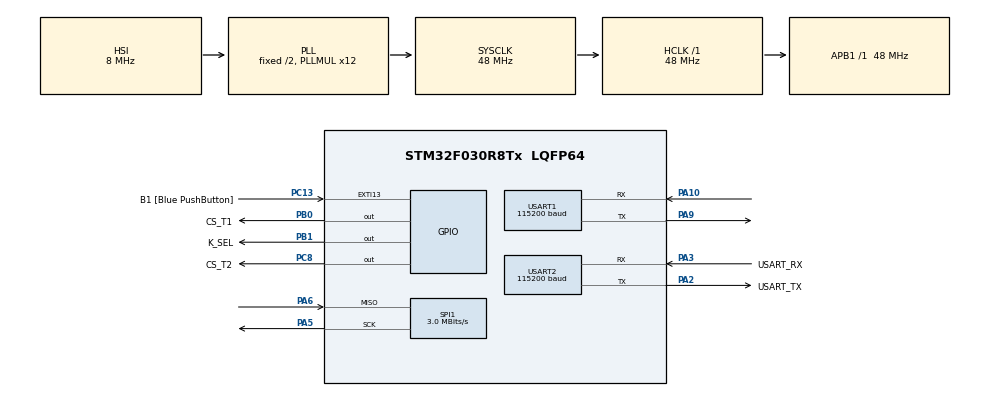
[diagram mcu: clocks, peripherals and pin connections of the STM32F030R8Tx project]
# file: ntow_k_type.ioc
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Mcu.Family=STM32F0
Mcu.Name=STM32F030R8Tx
Mcu.Package=LQFP64
PA10.Mode=Asynchronous
PA10.Signal=USART1_RX
PA13.GPIO_Label=TMS
PA13.Mode=Serial_Wire
PA13.Signal=SYS_SWDIO
PA14.GPIO_Label=TCK
PA14.Mode=Serial_Wire
PA14.Signal=SYS_SWCLK
PA2.GPIO_Label=USART_TX
PA2.GPIO_Mode=GPIO_MODE_AF_PP
PA2.GPIO_PuPd=GPIO_NOPULL
PA2.GPIO_Speed=GPIO_SPEED_FREQ_LOW
PA2.Mode=Asynchronous
PA2.Signal=USART2_TX
PA3.GPIO_Label=USART_RX
PA3.GPIO_Mode=GPIO_MODE_AF_PP
PA3.GPIO_PuPd=GPIO_NOPULL
PA3.GPIO_Speed=GPIO_SPEED_FREQ_LOW
PA3.Mode=Asynchronous
PA3.Signal=USART2_RX
PA5.Mode=RX_Only_Simplex_Unidirect_Master
PA5.Signal=SPI1_SCK
PA6.Mode=RX_Only_Simplex_Unidirect_Master
PA6.Signal=SPI1_MISO
PA9.Mode=Asynchronous
PA9.Signal=USART1_TX
PB0.GPIO_Label=CS_T1
PB0.Signal=GPIO_Output
PB1.GPIO_Label=K_SEL
PB1.Signal=GPIO_Output
PC13.GPIO_Label=B1 [Blue PushButton]
PC13.GPIO_ModeDefaultEXTI=GPIO_MODE_IT_FALLING
PC13.Signal=GPXTI13
PC14-OSC32_IN.Mode=LSE-External-Oscillator
PC14-OSC32_IN.Signal=RCC_OSC32_IN
PC15-OSC32_OUT.Mode=LSE-External-Oscillator
PC15-OSC32_OUT.Signal=RCC_OSC32_OUT
PC8.GPIO_Label=CS_T2
PC8.Signal=GPIO_Output
PF0-OSC_IN.Mode=HSE-External-Clock-Source
PF0-OSC_IN.Signal=RCC_OSC_IN
PF1-OSC_OUT.Signal=RCC_OSC_OUT
ProjectManager.HeapSize=0x200
ProjectManager.StackSize=0x400
ProjectManager.TargetToolchain=STM32CubeIDE
RCC.AHBFreq_Value=48000000
RCC.APB1Freq_Value=48000000
RCC.APB1TimFreq_Value=48000000
RCC.HCLKFreq_Value=48000000
RCC.PLLMUL=RCC_PLL_MUL12
RCC.SYSCLKFreq_VALUE=48000000
RCC.SYSCLKSource=RCC_SYSCLKSOURCE_PLLCLK
SPI1.BaudRatePrescaler=SPI_BAUDRATEPRESCALER_16
SPI1.CalculateBaudRate=3.0 MBits/s
SPI1.DataSize=SPI_DATASIZE_8BIT
SPI1.Direction=SPI_DIRECTION_2LINES_RXONLY
SPI1.Mode=SPI_MODE_MASTER
SPI1.VirtualType=VM_MASTER
USART1.BaudRate=115200
USART1.VirtualMode-Asynchronous=VM_ASYNC
USART2.BaudRate=115200
USART2.VirtualMode-Asynchronous=VM_ASYNC
board=NUCLEO-F030R8

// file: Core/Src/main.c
/* USER CODE BEGIN Header */
/**
  ******************************************************************************
  * @file           : main.c
  * @brief          : Main program body
  ******************************************************************************
  * @attention
  *
  * <h2><center>&copy; Copyright (c) 2020 STMicroelectronics.
  * All rights reserved.</center></h2>
  *
  * This software component is licensed by ST under BSD 3-Clause license,
  * the "License"; You may not use this file except in compliance with the
  * License. You may obtain a copy of the License at:
  *                        opensource.org/licenses/BSD-3-Clause
  *
  ******************************************************************************
  */
/* USER CODE END Header */
#include "main.h"

/* USER CODE BEGIN Includes */
#include "MAX31855.h"
#include<stdio.h>
/* USER CODE END Includes */

SPI_HandleTypeDef hspi1;

UART_HandleTypeDef huart1;
UART_HandleTypeDef huart2;

/* USER CODE BEGIN PV */
char temp_buff[200];
char printBuff[200]={};
char temp_buff_1[200];
uint16_t Temperature_value;
uint16_t temp_val, temp_val1;
uint16_t temp_k1;
uint8_t k2_flag=0,k1_flag=0;
char pData[10]={"rathan"};
unsigned char data[5]={'#',0,'$',0,'@'};
char data_2[2]={"$"};
char data_3[2]={"@"};
volatile uint16_t Temperature1, Temperature2;
/* USER CODE END PV */

void SystemClock_Config(void);
static void MX_GPIO_Init(void);
static void MX_USART2_UART_Init(void);
static void MX_SPI1_Init(void);
static void MX_USART1_UART_Init(void);

/* USER CODE BEGIN 0 */
void read_k1()
{
//	HAL_GPIO_WritePin(CS_pin_GPIO_Port, CS_pin_Pin, SET);
//	HAL_GPIO_WritePin(K_SEL_GPIO_Port, K_SEL_Pin, RESET);
	k1_flag=1;
	k2_flag=0;
	HAL_Delay(50);
// 	HAL_GPIO_WritePin(CS_pin_GPIO_Port, CS_pin_Pin, RESET);
//    ReadTemperature(&temp);
	//   	ReadTemperature();
	HAL_Delay(500);
}
void read_k2()
{
	 //  HAL_GPIO_WritePin(CS_pin_GPIO_Port, CS_pin_Pin, SET);
	    HAL_GPIO_WritePin(K_SEL_GPIO_Port, K_SEL_Pin, SET);
	    k2_flag=1;
	    HAL_Delay(50);
	//    HAL_GPIO_WritePin(CS_pin_GPIO_Port, CS_pin_Pin, RESET);
	    ReadTemperature(&temp_k1);
	//    ReadTemperature(&tempk1);
	    HAL_Delay(500);
	//    HAL_GPIO_WritePin(CS_pin_GPIO_Port, CS_pin_Pin, SET);
}
uint16_t read_temp(uint8_t Temp_no)
{
	uint16_t temp_value = 0;
//	temp = 0, temp1  = 0;
	if(Temp_no == 1)
	{
//		HAL_GPIO_WritePin(K_SEL_GPIO_Port, K_SEL_Pin, RESET);
//		HAL_Delay(500);
//	   	HAL_GPIO_WritePin(CS_pin_GPIO_Port, CS_pin_Pin, RESET);
		ReadTemperature(&temp_val);
		temp_value = temp_val;
	}
	else if(Temp_no == 2)
	{
//		HAL_GPIO_WritePin(K_SEL_GPIO_Port, K_SEL_Pin, SET);
//		HAL_Delay(500);
//	   	HAL_GPIO_WritePin(CS2_p_GPIO_Port, CS2_p_Pin, RESET);
		ReadTemperature(&temp_val1);
		temp_value = temp_val1;
	}
	return temp_value;
}
/* USER CODE END 0 */

int main(void)
{

  /* MCU Configuration--------------------------------------------------------*/

  /* Reset of all peripherals, Initializes the Flash interface and the Systick. */
  HAL_Init();

  /* Configure the system clock */
  SystemClock_Config();

  /* Initialize all configured peripherals */
  MX_GPIO_Init();
  MX_USART2_UART_Init();
  MX_SPI1_Init();
  MX_USART1_UART_Init();
  /* USER CODE BEGIN 2 */
  HAL_SPI_Init(&hspi1);

//  HAL_GPIO_WritePin(K_SEL_GPIO_Port, K_SEL_Pin, SET);
  /* USER CODE END 2 */

  /* Infinite loop */
  /* USER CODE BEGIN WHILE */
//  HAL_UART_Transmit(&huart2, (uint8_t *)pData, sizeof(pData), HAL_MAX_DELAY);
  while (1)
  {
    /* USER CODE END WHILE */

    /* USER CODE BEGIN 3 */
	  HAL_GPIO_WritePin(CS_T2_GPIO_Port, CS_T2_Pin, SET);
	  HAL_GPIO_WritePin(CS_T1_GPIO_Port, CS_T1_Pin, RESET);
	  Temperature1 = read_temp(1);
	//  HAL_UART_Transmit(&huart2, (uint8_t *)data_1, sizeof(data_1), HAL_MAX_DELAY);
	 // HAL_UART_Transmit(&huart2, Temperature1, 1 , HAL_MAX_DELAY);
//	  sprintf(printBuff, " \r\n",Temperature1);
//	  HAL_UART_Transmit(&huart2, (uint16_t *)&printBuff, sizeof(printBuff), 1000);
//	  HAL_UART_Transmit(&huart2, (uint8_t *)data_2, sizeof(data_2), HAL_MAX_DELAY);
	  HAL_Delay(500);

	  HAL_GPIO_WritePin(CS_T1_GPIO_Port, CS_T1_Pin, SET);
	  HAL_GPIO_WritePin(CS_T2_GPIO_Port, CS_T2_Pin, RESET);
	  Temperature2 = read_temp(2);
	//  HAL_UART_Transmit(&huart2, Temperature2, 2, HAL_MAX_DELAY);
	 // HAL_UART_Transmit(&huart2, (uint8_t *)data_3, sizeof(data_3), HAL_MAX_DELAY);
data[1]=Temperature1;
data[3]=Temperature2;
HAL_UART_Transmit(&huart1, (uint8_t *)data, sizeof(data), HAL_MAX_DELAY);

//	  sprintf(printBuff, " \r\n",Temperature2);
//	  HAL_UART_Transmit(&huart2, (uint16_t *)&printBuff, sizeof(printBuff), 1000);
/* 	HAL_GPIO_WritePin(CS_pin_GPIO_Port, CS_pin_Pin, SET);
 	HAL_GPIO_WritePin(K_SEL_GPIO_Port, K_SEL_Pin, RESET);
 	k1_flag=1;
 	HAL_Delay(50);
//   	HAL_GPIO_WritePin(CS_pin_GPIO_Port, CS_pin_Pin, RESET);
    ReadTemperature(&temp);
//   	ReadTemperature();
    HAL_Delay(500);

    HAL_GPIO_WritePin(CS_pin_GPIO_Port, CS_pin_Pin, SET);
    HAL_GPIO_WritePin(K_SEL_GPIO_Port, K_SEL_Pin, SET);
    k2_flag=1;
    HAL_Delay(50);
    HAL_GPIO_WritePin(CS_pin_GPIO_Port, CS_pin_Pin, RESET);
    ReadTemperature(&temp_k1);
//   ReadTemperature(&tempk1);
    HAL_Delay(500);
    HAL_GPIO_WritePin(CS_pin_GPIO_Port, CS_pin_Pin, SET);*/
	  /////////////
//	  read_k1();
//	  read_k2();

  }
  /* USER CODE END 3 */
}

void SystemClock_Config(void)
{
  RCC_OscInitTypeDef RCC_OscInitStruct = {0};
  RCC_ClkInitTypeDef RCC_ClkInitStruct = {0};
  RCC_PeriphCLKInitTypeDef PeriphClkInit = {0};

  /** Initializes the RCC Oscillators according to the specified parameters
  * in the RCC_OscInitTypeDef structure.
  */
  RCC_OscInitStruct.OscillatorType = RCC_OSCILLATORTYPE_HSI;
  RCC_OscInitStruct.HSIState = RCC_HSI_ON;
  RCC_OscInitStruct.HSICalibrationValue = RCC_HSICALIBRATION_DEFAULT;
  RCC_OscInitStruct.PLL.PLLState = RCC_PLL_ON;
  RCC_OscInitStruct.PLL.PLLSource = RCC_PLLSOURCE_HSI;
  RCC_OscInitStruct.PLL.PLLMUL = RCC_PLL_MUL12;
  RCC_OscInitStruct.PLL.PREDIV = RCC_PREDIV_DIV1;
  if (HAL_RCC_OscConfig(&RCC_OscInitStruct) != HAL_OK)
  {
    Error_Handler();
  }
  /** Initializes the CPU, AHB and APB buses clocks
  */
  RCC_ClkInitStruct.ClockType = RCC_CLOCKTYPE_HCLK|RCC_CLOCKTYPE_SYSCLK
                              |RCC_CLOCKTYPE_PCLK1;
  RCC_ClkInitStruct.SYSCLKSource = RCC_SYSCLKSOURCE_PLLCLK;
  RCC_ClkInitStruct.AHBCLKDivider = RCC_SYSCLK_DIV1;
  RCC_ClkInitStruct.APB1CLKDivider = RCC_HCLK_DIV1;

  if (HAL_RCC_ClockConfig(&RCC_ClkInitStruct, FLASH_LATENCY_1) != HAL_OK)
  {
    Error_Handler();
  }
  PeriphClkInit.PeriphClockSelection = RCC_PERIPHCLK_USART1;
  PeriphClkInit.Usart1ClockSelection = RCC_USART1CLKSOURCE_PCLK1;
  if (HAL_RCCEx_PeriphCLKConfig(&PeriphClkInit) != HAL_OK)
  {
    Error_Handler();
  }
}

static void MX_SPI1_Init(void)
{

  /* SPI1 parameter configuration*/
  hspi1.Instance = SPI1;
  hspi1.Init.Mode = SPI_MODE_MASTER;
  hspi1.Init.Direction = SPI_DIRECTION_2LINES_RXONLY;
  hspi1.Init.DataSize = SPI_DATASIZE_8BIT;
  hspi1.Init.CLKPolarity = SPI_POLARITY_LOW;
  hspi1.Init.CLKPhase = SPI_PHASE_1EDGE;
  hspi1.Init.NSS = SPI_NSS_SOFT;
  hspi1.Init.BaudRatePrescaler = SPI_BAUDRATEPRESCALER_16;
  hspi1.Init.FirstBit = SPI_FIRSTBIT_MSB;
  hspi1.Init.TIMode = SPI_TIMODE_DISABLE;
  hspi1.Init.CRCCalculation = SPI_CRCCALCULATION_DISABLE;
  hspi1.Init.CRCPolynomial = 7;
  hspi1.Init.CRCLength = SPI_CRC_LENGTH_DATASIZE;
  hspi1.Init.NSSPMode = SPI_NSS_PULSE_ENABLE;
  if (HAL_SPI_Init(&hspi1) != HAL_OK)
  {
    Error_Handler();
  }

}

static void MX_USART1_UART_Init(void)
{

  huart1.Instance = USART1;
  huart1.Init.BaudRate = 115200;
  huart1.Init.WordLength = UART_WORDLENGTH_8B;
  huart1.Init.StopBits = UART_STOPBITS_1;
  huart1.Init.Parity = UART_PARITY_NONE;
  huart1.Init.Mode = UART_MODE_TX_RX;
  huart1.Init.HwFlowCtl = UART_HWCONTROL_NONE;
  huart1.Init.OverSampling = UART_OVERSAMPLING_16;
  huart1.Init.OneBitSampling = UART_ONE_BIT_SAMPLE_DISABLE;
  huart1.AdvancedInit.AdvFeatureInit = UART_ADVFEATURE_NO_INIT;
  if (HAL_UART_Init(&huart1) != HAL_OK)
  {
    Error_Handler();
  }

}

static void MX_USART2_UART_Init(void)
{

  huart2.Instance = USART2;
  huart2.Init.BaudRate = 115200;
  huart2.Init.WordLength = UART_WORDLENGTH_8B;
  huart2.Init.StopBits = UART_STOPBITS_1;
  huart2.Init.Parity = UART_PARITY_NONE;
  huart2.Init.Mode = UART_MODE_TX_RX;
  huart2.Init.HwFlowCtl = UART_HWCONTROL_NONE;
  huart2.Init.OverSampling = UART_OVERSAMPLING_16;
  huart2.Init.OneBitSampling = UART_ONE_BIT_SAMPLE_DISABLE;
  huart2.AdvancedInit.AdvFeatureInit = UART_ADVFEATURE_NO_INIT;
  if (HAL_UART_Init(&huart2) != HAL_OK)
  {
    Error_Handler();
  }

}

static void MX_GPIO_Init(void)
{
  GPIO_InitTypeDef GPIO_InitStruct = {0};

  /* GPIO Ports Clock Enable */
  __HAL_RCC_GPIOC_CLK_ENABLE();
  __HAL_RCC_GPIOF_CLK_ENABLE();
  __HAL_RCC_GPIOA_CLK_ENABLE();
  __HAL_RCC_GPIOB_CLK_ENABLE();

  /*Configure GPIO pin Output Level */
  HAL_GPIO_WritePin(GPIOB, CS_T1_Pin|K_SEL_Pin, GPIO_PIN_RESET);

  /*Configure GPIO pin Output Level */
  HAL_GPIO_WritePin(CS_T2_GPIO_Port, CS_T2_Pin, GPIO_PIN_RESET);

  /*Configure GPIO pin : B1_Pin */
  GPIO_InitStruct.Pin = B1_Pin;
  GPIO_InitStruct.Mode = GPIO_MODE_IT_FALLING;
  GPIO_InitStruct.Pull = GPIO_NOPULL;
  HAL_GPIO_Init(B1_GPIO_Port, &GPIO_InitStruct);

  /*Configure GPIO pins : CS_T1_Pin K_SEL_Pin */
  GPIO_InitStruct.Pin = CS_T1_Pin|K_SEL_Pin;
  GPIO_InitStruct.Mode = GPIO_MODE_OUTPUT_PP;
  GPIO_InitStruct.Pull = GPIO_NOPULL;
  GPIO_InitStruct.Speed = GPIO_SPEED_FREQ_LOW;
  HAL_GPIO_Init(GPIOB, &GPIO_InitStruct);

  /*Configure GPIO pin : CS_T2_Pin */
  GPIO_InitStruct.Pin = CS_T2_Pin;
  GPIO_InitStruct.Mode = GPIO_MODE_OUTPUT_PP;
  GPIO_InitStruct.Pull = GPIO_NOPULL;
  GPIO_InitStruct.Speed = GPIO_SPEED_FREQ_LOW;
  HAL_GPIO_Init(CS_T2_GPIO_Port, &GPIO_InitStruct);

}

void Error_Handler(void)
{
}

/************************ (C) COPYRIGHT STMicroelectronics *****END OF FILE****/
